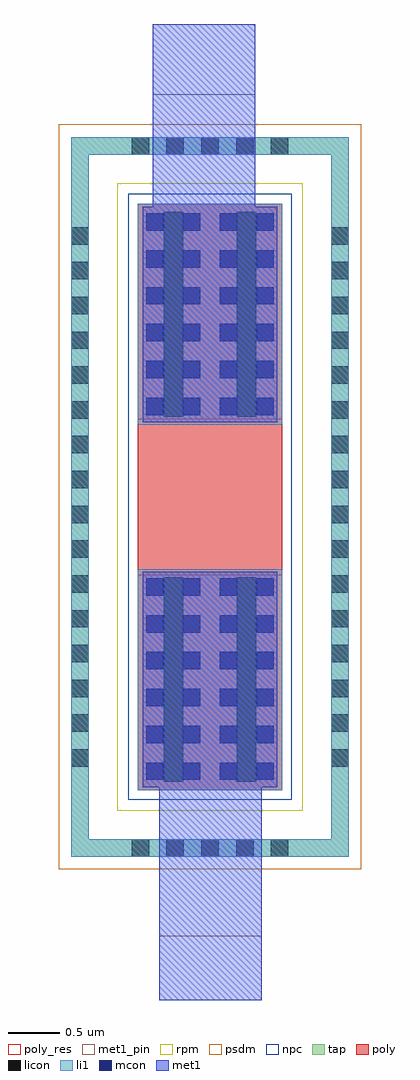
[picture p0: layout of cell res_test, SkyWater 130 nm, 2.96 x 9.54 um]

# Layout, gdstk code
import gdstk
lib = gdstk.Library(unit=1e-6, precision=5e-09)
def R(c, l, rs):  # rectangles x0, y0, x1, y1
    for r in rs: c.add(gdstk.rectangle(r[:2], r[2:], *l))
def A(c, l, x, y, w, h, nx, ny, dx, dy):  # array of equal rectangles
    R(c, l, [(x+i*dx, y+j*dy, x+i*dx+w, y+j*dy+h) for i in range(nx) for j in range(ny)])
tap = (65, 44)
poly_res = (66, 13)
poly = (66, 20)
licon = (66, 44)
li1 = (67, 20)
mcon = (67, 44)
met1_pin = (68, 16)
met1 = (68, 20)
rpm = (86, 20)
psdm = (94, 20)
npc = (95, 20)

res_poly = lib.new_cell('res_poly')
R(res_poly, tap, [(-1.355,-3.515,1.355,-3.345), (-1.355,-3.345,-1.185,3.345), (1.185,-3.345,1.355,3.345), (-1.355,3.345,1.355,3.515)])
R(res_poly, poly_res, [(-0.705,-0.765,0.705,0.765)])
R(res_poly, poly, [(-0.705,-2.865,0.705,2.865)])
A(res_poly, licon, -0.765, -3.515, 0.17, 0.17, 5, 2, 0.34, 6.86)
A(res_poly, licon, -1.355, -2.635, 0.17, 0.17, 1, 16, 0, 0.34)
A(res_poly, licon, 1.185, -2.635, 0.17, 0.17, 1, 16, 0, 0.34)
R(res_poly, licon, [(-0.45,-2.785,-0.26,-0.785), (0.26,-2.785,0.45,-0.785), (-0.45,0.785,-0.26,2.785), (0.26,0.785,0.45,2.785)])
R(res_poly, li1, [(-1.355,-3.515,1.355,-3.345), (-1.355,-3.345,-1.185,3.345), (1.185,-3.345,1.355,3.345), (-0.705,-2.865,0.705,-0.705), (-0.705,0.705,0.705,2.865), (-1.355,3.345,1.355,3.515)])
A(res_poly, mcon, -0.625, -2.765, 0.17, 0.17, 4, 6, 0.36, 0.36)
A(res_poly, mcon, -0.625, 0.8, 0.17, 0.17, 4, 6, 0.36, 0.36)
R(res_poly, met1, [(-0.655,-2.835,0.655,-0.73), (-0.655,0.73,0.655,2.835)])
R(res_poly, rpm, [(-0.905,-3.065,0.905,3.065)])
R(res_poly, psdm, [(-1.48,-3.64,1.48,3.64)])
R(res_poly, npc, [(-0.8,-2.96,0.8,2.96)])

res_test = lib.new_cell('res_test')
R(res_test, met1_pin, [(3.14,-4.51,4.14,-3.88), (3.075,4.335,4.075,5.025)])
res_test.add(gdstk.FlexPath([(3.575,1.925),(3.575,5.025)], 1, ends="flush", simple_path=True, layer=68, datatype=20))  # met1
res_test.add(gdstk.FlexPath([(3.64,-4.51),(3.64,-1.41)], 1, ends="flush", simple_path=True, layer=68, datatype=20))  # met1
res_test.add(gdstk.Reference(res_poly, (3.635,0.405)))

lib.write_gds('res_test.gds')
